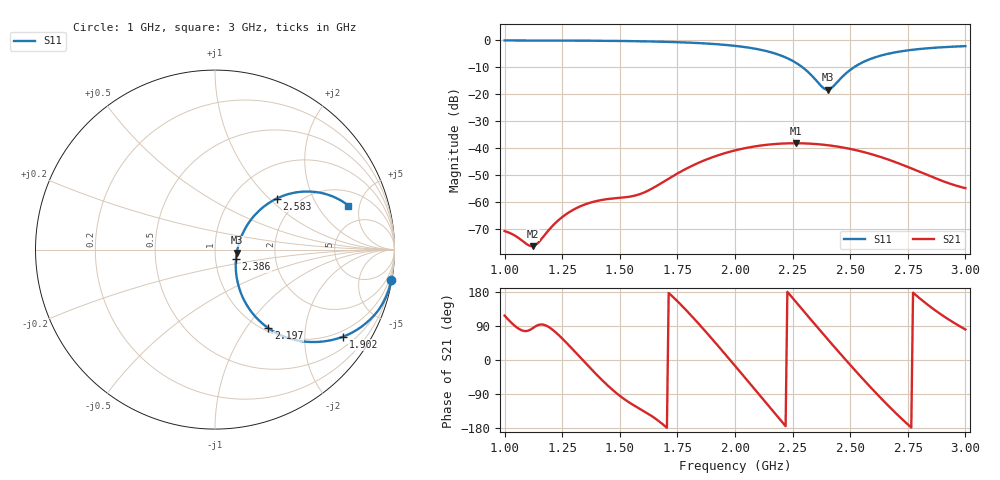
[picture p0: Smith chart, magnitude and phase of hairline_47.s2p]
! TOUCHSTONE file generated by CST MICROWAVE STUDIO
! Date and time: Tue Mar 18 20:31:58 2025
! Project name: hairline.cst
! Parameters = {B=12.5; D=160; F=25; Feed=2.85625; Fracture=1; L=100; M=50; R=0.384908; S=1.5; Theta=270; length=57.125; wave=114.25}
! Header version: 2024
! Port assignment regex: !\s*Touchstone port\s*([0-9]+)\s*=\s*(CST MWS port|CST DES external port|CST DES block port)\s*(.+)\s* \(\"(.*)\"\)(\s*mode\s*([0-9]+))?.*
! Touchstone port assignment:
! Touchstone port 1 = CST MWS port 1 ("")
! Touchstone port 2 = CST MWS port 2 ("")
# GHz S DB R 50
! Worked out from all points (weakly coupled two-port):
!   265 points, 1 GHz to 3 GHz, reference 50 ohm
!   highest |S21| = -38.09 dB at 2.265 GHz (marker M1); lowest = -76.2 dB at 1.121 GHz (marker M2)
!   lowest |S11| = -18.2 dB at 2.402 GHz (marker M3), VSWR 1.28, Z = 63.7 - j2.32 ohm
!   |S11| at or under -10 dB: 2.294 GHz to 2.515 GHz (221.8 MHz wide, 9.23 % of centre)
!   S12 and S22 are empty: the file has one direction only
!   S11 on the Smith chart (normalised r, x): 1 GHz: 0, -12; 1.902 GHz: 0.81, -3.05; 2.197 GHz: 1.05, -1.28; 2.386 GHz: 1.26, -0.14; 2.583 GHz: 1.57, +1.11; 3 GHz: 3.07, +3.90
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1  -0.02 -9.8  -70.62 117.2  -200.00 0.0  -200.00 0.0
1.12121  -0.03 -11.5  -76.21 83.6  -200.00 0.0  -200.00 0.0
1.14394  -0.04 -11.8  -75.10 91.9  -200.00 0.0  -200.00 0.0
1.24242  -0.06 -13.5  -65.96 61.4  -200.00 0.0  -200.00 0.0
1.34091  -0.10 -15.3  -61.02 -1.4  -200.00 0.0  -200.00 0.0
1.41667  -0.14 -17.0  -59.17 -49.2  -200.00 0.0  -200.00 0.0
1.56818  -0.28 -21.0  -57.42 -122.3  -200.00 0.0  -200.00 0.0
1.66667  -0.45 -24.1  -53.56 -160.1  -200.00 0.0  -200.00 0.0
1.79545  -0.80 -29.1  -47.21 126.7  -200.00 0.0  -200.00 0.0
1.90152  -1.29 -34.3  -43.29 54.8  -200.00 0.0  -200.00 0.0
2  -2.02 -40.2  -40.74 -15.3  -200.00 0.0  -200.00 0.0
2.10606  -3.38 -48.1  -39.00 -92.1  -200.00 0.0  -200.00 0.0
2.19697  -5.53 -55.8  -38.24 -158.1  -200.00 0.0  -200.00 0.0
2.26515  -8.33 -59.9  -38.09 152.6  -200.00 0.0  -200.00 0.0
2.34091  -13.73 -53.4  -38.32 98.3  -200.00 0.0  -200.00 0.0
2.38636  -17.80 -25.0  -38.66 66.0  -200.00 0.0  -200.00 0.0
2.40152  -18.23 -8.4  -38.81 55.3  -200.00 0.0  -200.00 0.0
2.50758  -10.46 41.1  -40.33 -18.1  -200.00 0.0  -200.00 0.0
2.58333  -7.02 39.6  -41.92 -68.7  -200.00 0.0  -200.00 0.0
2.66667  -4.91 34.4  -44.17 -121.4  -200.00 0.0  -200.00 0.0
2.81818  -3.05 25.6  -49.27 154.5  -200.00 0.0  -200.00 0.0
3  -2.12 18.2  -54.73 80.6  -200.00 0.0  -200.00 0.0
